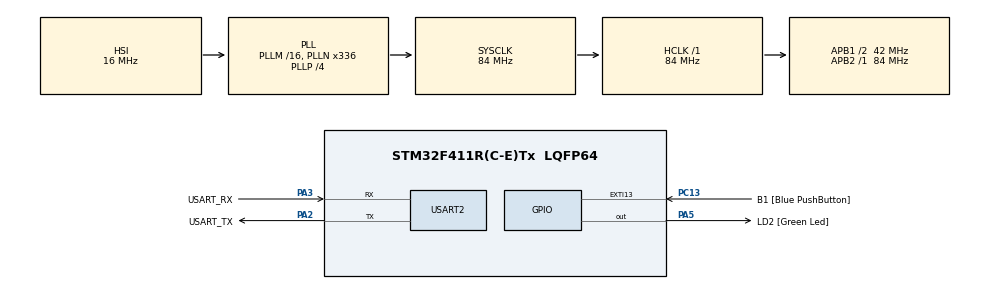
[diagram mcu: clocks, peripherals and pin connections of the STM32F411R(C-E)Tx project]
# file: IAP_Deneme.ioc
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Mcu.Family=STM32F4
Mcu.Name=STM32F411R(C-E)Tx
Mcu.Package=LQFP64
NVIC.PriorityGroup=NVIC_PRIORITYGROUP_0
PA13.GPIO_Label=TMS
PA13.Mode=Serial_Wire
PA13.Signal=SYS_JTMS-SWDIO
PA14.GPIO_Label=TCK
PA14.Mode=Serial_Wire
PA14.Signal=SYS_JTCK-SWCLK
PA2.GPIO_Label=USART_TX
PA2.Mode=Asynchronous
PA2.Signal=USART2_TX
PA3.GPIO_Label=USART_RX
PA3.Mode=Asynchronous
PA3.Signal=USART2_RX
PA5.GPIO_Label=LD2 [Green Led]
PA5.Signal=GPIO_Output
PB3.GPIO_Label=SWO
PB3.Signal=SYS_JTDO-SWO
PC13-ANTI_TAMP.GPIO_Label=B1 [Blue PushButton]
PC13-ANTI_TAMP.GPIO_ModeDefaultEXTI=GPIO_MODE_IT_FALLING
PC13-ANTI_TAMP.Signal=GPXTI13
PC14-OSC32_IN.Mode=LSE-External-Oscillator
PC14-OSC32_IN.Signal=RCC_OSC32_IN
PC15-OSC32_OUT.Mode=LSE-External-Oscillator
PC15-OSC32_OUT.Signal=RCC_OSC32_OUT
PH0\ -\ OSC_IN.Mode=HSE-External-Clock-Source
PH0\ -\ OSC_IN.Signal=RCC_OSC_IN
PH1\ -\ OSC_OUT.Mode=HSE-External-Clock-Source
PH1\ -\ OSC_OUT.Signal=RCC_OSC_OUT
ProjectManager.HeapSize=0x200
ProjectManager.StackSize=0x400
ProjectManager.TargetToolchain=STM32CubeIDE
RCC.48MHZClocksFreq_Value=84000000
RCC.AHBFreq_Value=84000000
RCC.APB1CLKDivider=RCC_HCLK_DIV2
RCC.APB1Freq_Value=42000000
RCC.APB1TimFreq_Value=84000000
RCC.APB2Freq_Value=84000000
RCC.APB2TimFreq_Value=84000000
RCC.CortexFreq_Value=84000000
RCC.FLatency-AdvancedSettings=FLASH_LATENCY_2
RCC.HCLKFreq_Value=84000000
RCC.HSE_VALUE=8000000
RCC.HSI_VALUE=16000000
RCC.PLLN=336
RCC.PLLP=RCC_PLLP_DIV4
RCC.SYSCLKFreq_VALUE=84000000
RCC.SYSCLKSource=RCC_SYSCLKSOURCE_PLLCLK
RCC.VCOOutputFreq_Value=336000000
USART2.VirtualMode=VM_ASYNC
VP_CRC_VS_CRC.Mode=CRC_Activate
board=NUCLEO-F411RE

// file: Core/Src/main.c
/* USER CODE BEGIN Header */
/**
  ******************************************************************************
  * @file           : main.c
  * @brief          : Main program body
  ******************************************************************************
  * @attention
  *
  * Copyright (c) 2023 STMicroelectronics.
  * All rights reserved.
  *
  * This software is licensed under terms that can be found in the LICENSE file
  * in the root directory of this software component.
  * If no LICENSE file comes with this software, it is provided AS-IS.
  *
  ******************************************************************************
  */
/* USER CODE END Header */
#include "main.h"

/* USER CODE BEGIN Includes */
#include "menu.h"
#include <string.h>
/* USER CODE END Includes */

CRC_HandleTypeDef hcrc;
UART_HandleTypeDef huart2;
uint8_t password[7]={"sel3543"};//password
uint8_t buffer[7];//password receive buffer

void SystemClock_Config(void);
static void MX_GPIO_Init(void);
static void MX_USART2_UART_Init(void);
static void MX_CRC_Init(void);

/* USER CODE BEGIN 0 */
extern pFunction JumpToApplication;
extern uint32_t JumpAddress;
//static void IAP_Init(void);
void SystemClock_Config(void);

/* USER CODE END 0 */

int main(void)
{

  /* MCU Configuration--------------------------------------------------------*/

  /* Reset of all peripherals, Initializes the Flash interface and the Systick. */
  HAL_Init();

  /* Configure the system clock */
  SystemClock_Config();

  /* Initialize all configured peripherals */
  MX_GPIO_Init();
  MX_USART2_UART_Init();
  MX_CRC_Init();
  /* USER CODE BEGIN 2 */

  	 if ( HAL_GPIO_ReadPin(B1_GPIO_Port, B1_Pin) == GPIO_PIN_RESET)
  	  {
  	  	/* Initialise Flash */
  		 FLASH_If_Init();
  	  	/* Execute the IAP driver in order to reprogram the Flash */
  		Serial_PutString("\r\nPlease Enter to Password ");
  		/*Password*/
  		 label://if failed else condition jump here
  		 if(HAL_UART_Receive(&huart2, buffer, sizeof(password), HAL_MAX_DELAY)==HAL_OK){
  			 if(strcmp(buffer,password)==0)
  			 { Serial_PutString("\r\nAthenticatioon Accepted ");
  			 /* Display main menu */
  			  	    Main_Menu ();

  			 }
  			 else
  			 {
  				Serial_PutString("\r\nAthenticatioon Failed ");
  				Serial_PutString("\r\nPlease Enter to Password ");
  				goto label;
  			 }

  		 }

  	  }
  	  /* Keep the user application running */
  	  else
  	  {
  	    /* Test if user code is programmed starting from address "APPLICATION_ADDRESS" */
  	   // if (((*(__IO uint32_t*)APPLICATION_ADDRESS) & 0x2FFE0000 ) == 0x20000000)
  	   // {
  	      /* Jump to user application */
  	      JumpAddress = *(__IO uint32_t*) (APPLICATION_ADDRESS + 4);
  	      JumpToApplication = (pFunction) JumpAddress;
  	      /* Initialize user application's Stack Pointer */
  	      __set_MSP(*(__IO uint32_t*) APPLICATION_ADDRESS);
  	      JumpToApplication();
  	  // }
  	  }
  /* USER CODE END 2 */

  /* Infinite loop */
  while (1)
  {

  }
}

void SystemClock_Config(void)
{
  RCC_OscInitTypeDef RCC_OscInitStruct = {0};
  RCC_ClkInitTypeDef RCC_ClkInitStruct = {0};

  /** Configure the main internal regulator output voltage
  */
  __HAL_RCC_PWR_CLK_ENABLE();
  __HAL_PWR_VOLTAGESCALING_CONFIG(PWR_REGULATOR_VOLTAGE_SCALE1);

  /** Initializes the RCC Oscillators according to the specified parameters
  * in the RCC_OscInitTypeDef structure.
  */
  RCC_OscInitStruct.OscillatorType = RCC_OSCILLATORTYPE_HSI;
  RCC_OscInitStruct.HSIState = RCC_HSI_ON;
  RCC_OscInitStruct.HSICalibrationValue = RCC_HSICALIBRATION_DEFAULT;
  RCC_OscInitStruct.PLL.PLLState = RCC_PLL_ON;
  RCC_OscInitStruct.PLL.PLLSource = RCC_PLLSOURCE_HSI;
  RCC_OscInitStruct.PLL.PLLM = 16;
  RCC_OscInitStruct.PLL.PLLN = 336;
  RCC_OscInitStruct.PLL.PLLP = RCC_PLLP_DIV4;
  RCC_OscInitStruct.PLL.PLLQ = 4;
  if (HAL_RCC_OscConfig(&RCC_OscInitStruct) != HAL_OK)
  {
    Error_Handler();
  }

  /** Initializes the CPU, AHB and APB buses clocks
  */
  RCC_ClkInitStruct.ClockType = RCC_CLOCKTYPE_HCLK|RCC_CLOCKTYPE_SYSCLK
                              |RCC_CLOCKTYPE_PCLK1|RCC_CLOCKTYPE_PCLK2;
  RCC_ClkInitStruct.SYSCLKSource = RCC_SYSCLKSOURCE_PLLCLK;
  RCC_ClkInitStruct.AHBCLKDivider = RCC_SYSCLK_DIV1;
  RCC_ClkInitStruct.APB1CLKDivider = RCC_HCLK_DIV2;
  RCC_ClkInitStruct.APB2CLKDivider = RCC_HCLK_DIV1;

  if (HAL_RCC_ClockConfig(&RCC_ClkInitStruct, FLASH_LATENCY_2) != HAL_OK)
  {
    Error_Handler();
  }
}

static void MX_CRC_Init(void)
{

  hcrc.Instance = CRC;
  if (HAL_CRC_Init(&hcrc) != HAL_OK)
  {
    Error_Handler();
  }

}

static void MX_USART2_UART_Init(void)
{

  huart2.Instance = USART2;
  huart2.Init.BaudRate = 115200;
  huart2.Init.WordLength = UART_WORDLENGTH_8B;
  huart2.Init.StopBits = UART_STOPBITS_1;
  huart2.Init.Parity = UART_PARITY_NONE;
  huart2.Init.Mode = UART_MODE_TX_RX;
  huart2.Init.HwFlowCtl = UART_HWCONTROL_NONE;
  huart2.Init.OverSampling = UART_OVERSAMPLING_16;
  if (HAL_UART_Init(&huart2) != HAL_OK)
  {
    Error_Handler();
  }

}

static void MX_GPIO_Init(void)
{
  GPIO_InitTypeDef GPIO_InitStruct = {0};

  /* GPIO Ports Clock Enable */
  __HAL_RCC_GPIOC_CLK_ENABLE();
  __HAL_RCC_GPIOH_CLK_ENABLE();
  __HAL_RCC_GPIOA_CLK_ENABLE();
  __HAL_RCC_GPIOB_CLK_ENABLE();

  /*Configure GPIO pin Output Level */
  HAL_GPIO_WritePin(LD2_GPIO_Port, LD2_Pin, GPIO_PIN_RESET);

  /*Configure GPIO pin : B1_Pin */
  GPIO_InitStruct.Pin = B1_Pin;
  GPIO_InitStruct.Mode = GPIO_MODE_IT_FALLING;
  GPIO_InitStruct.Pull = GPIO_NOPULL;
  HAL_GPIO_Init(B1_GPIO_Port, &GPIO_InitStruct);

  /*Configure GPIO pin : LD2_Pin */
  GPIO_InitStruct.Pin = LD2_Pin;
  GPIO_InitStruct.Mode = GPIO_MODE_OUTPUT_PP;
  GPIO_InitStruct.Pull = GPIO_NOPULL;
  GPIO_InitStruct.Speed = GPIO_SPEED_FREQ_LOW;
  HAL_GPIO_Init(LD2_GPIO_Port, &GPIO_InitStruct);

}

void Error_Handler(void)
{
  __disable_irq();
  while (1)
  {
  }
}
